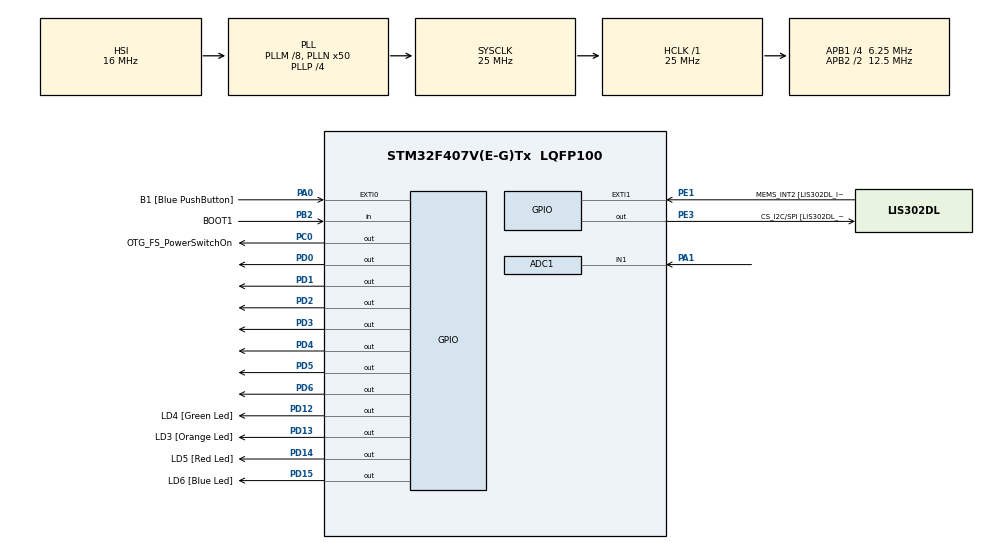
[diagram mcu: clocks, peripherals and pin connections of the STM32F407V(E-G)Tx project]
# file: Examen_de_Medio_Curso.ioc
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Mcu.Family=STM32F4
PA11.GPIO_Speed=GPIO_SPEED_FREQ_LOW
PC3.GPIO_Mode=GPIO_MODE_AF_PP
PD12.GPIO_Label=LD4 [Green Led]
PH0-OSC_IN.Signal=RCC_OSC_IN
RCC.CortexFreq_Value=25000000
PC10.GPIO_PuPd=GPIO_NOPULL
PB10.GPIO_Speed=GPIO_SPEED_FREQ_LOW
PB6.GPIO_Mode=GPIO_MODE_AF_OD
PB10.GPIO_PuPd=GPIO_NOPULL
PA10.GPIO_PuPd=GPIO_NOPULL
PD15.GPIO_Speed=GPIO_SPEED_FREQ_LOW
PC10.Signal=I2S3_CK
PC12.Signal=I2S3_SD
PA14.GPIO_Label=SWCLK
PA7.GPIO_Mode=GPIO_MODE_AF_PP
PC0.GPIO_Label=OTG_FS_PowerSwitchOn
VP_RTC_VS_RTC_Activate.Mode=RTC_Enabled
RTC.WeekDay=RTC_WEEKDAY_SUNDAY
PA6.GPIO_Label=SPI1_MISO [LIS302DL_SDO]
PB6.GPIO_Label=Audio_SCL [CS43L22_SCL]
PC10.GPIO_Speed=GPIO_SPEED_FREQ_LOW
PA11.GPIO_PuPd=GPIO_NOPULL
PC15-OSC32_OUT.GPIO_Label=PC15-OSC32_OUT
PC3.GPIO_Speed=GPIO_SPEED_FREQ_LOW
RCC.SYSCLKSource=RCC_SYSCLKSOURCE_PLLCLK
ProjectManager.StackSize=0x400
PA6.GPIO_Mode=GPIO_MODE_AF_PP
PD13.Signal=GPIO_Output
PD14.GPIO_Speed=GPIO_SPEED_FREQ_LOW
PA12.Signal=USB_OTG_FS_DP
ADC1.Channel-3\#ChannelRegularConversion=ADC_CHANNEL_1
RCC.HCLKFreq_Value=25000000
PD4.Signal=GPIO_Output
RCC.APB2TimFreq_Value=25000000
PB6.Signal=I2C1_SCL
PC7.Signal=I2S3_MCK
PC3.Signal=I2S2_SD
PD0.Signal=GPIO_Output
PE1.Signal=GPXTI1
RCC.AHBFreq_Value=25000000
PH0-OSC_IN.GPIO_Label=PH0-OSC_IN
PA9.GPIO_Mode=GPIO_MODE_INPUT
RCC.HSE_VALUE=8000000
PA4.GPIO_PuPd=GPIO_NOPULL
PB2.Signal=GPIO_Input
PA4.GPIO_Speed=GPIO_SPEED_FREQ_LOW
PA6.GPIO_PuPd=GPIO_NOPULL
RTC.Month=RTC_MONTH_MARCH
PA5.GPIO_PuPd=GPIO_NOPULL
PA10.GPIO_Label=OTG_FS_ID
PC7.GPIO_Mode=GPIO_MODE_AF_PP
PD14.GPIO_PuPd=GPIO_NOPULL
PB2.GPIO_PuPd=GPIO_NOPULL
PD13.GPIO_Label=LD3 [Orange Led]
Mcu.Package=LQFP100
PB9.Signal=I2C1_SDA
PA6.Signal=SPI1_MISO
PD12.Signal=GPIO_Output
PD15.GPIO_PuPd=GPIO_NOPULL
PA10.Signal=USB_OTG_FS_ID
PB9.GPIO_PuPd=GPIO_NOPULL
VP_RTC_VS_RTC_Calendar.Mode=RTC_Calendar
PA10.GPIO_Speed=GPIO_SPEED_FREQ_LOW
RCC.APB2CLKDivider=RCC_HCLK_DIV2
SH.ADCx_IN1.0=ADC1_IN1,IN1
PB9.GPIO_Speed=GPIO_SPEED_FREQ_LOW
RCC.APB1TimFreq_Value=12500000
PC14-OSC32_IN.GPIO_Label=PC14-OSC32_IN
PC12.GPIO_PuPd=GPIO_NOPULL
PA6.GPIO_Speed=GPIO_SPEED_FREQ_LOW
PC0.GPIO_PuPd=GPIO_NOPULL
PA12.GPIO_PuPd=GPIO_NOPULL
PD6.Signal=GPIO_Output
PA4.GPIO_Label=I2S3_WS [CS43L22_LRCK]
PD15.Signal=GPIO_Output
PC0.PinState=GPIO_PIN_SET
PA12.GPIO_Speed=GPIO_SPEED_FREQ_LOW
PB3.GPIO_Label=SWO
PD12.GPIO_Speed=GPIO_SPEED_FREQ_LOW
PD15.GPIO_Label=LD6 [Blue Led]
PB9.GPIO_Label=Audio_SDA [CS43L22_SDA]
PC10.GPIO_Label=I2S3_SCK [CS43L22_SCLK]
PA9.GPIO_Label=VBUS_FS
PB6.GPIO_PuPd=GPIO_NOPULL
PD3.Signal=GPIO_Output
PD1.Signal=GPIO_Output
PA11.GPIO_Label=OTG_FS_DM
PE1.GPIO_PuPd=GPIO_NOPULL
PD5.Signal=GPIO_Output
PC0.Signal=GPIO_Output
PE1.GPIO_ModeDefaultEXTI=GPIO_MODE_EVT_RISING
RCC.APB1CLKDivider=RCC_HCLK_DIV4
PC14-OSC32_IN.Signal=RCC_OSC32_IN
PA9.GPIO_PuPd=GPIO_NOPULL
PA12.GPIO_Label=OTG_FS_DP
PA0-WKUP.GPIO_Label=B1 [Blue PushButton]
PA0-WKUP.Signal=GPXTI0
PA10.GPIO_Mode=GPIO_MODE_AF_PP
PA13.Signal=SYS_JTMS-SWDIO
PC10.GPIO_Mode=GPIO_MODE_AF_PP
PC0.GPIO_Speed=GPIO_SPEED_FREQ_LOW
PB10.GPIO_Mode=GPIO_MODE_AF_PP
ProjectManager.TargetToolchain=STM32CubeIDE
PB10.GPIO_Label=CLK_IN [MP45DT02_CLK]
RTC.Year=21
PA9.Signal=USB_OTG_FS_VBUS
RTC.Format=RTC_FORMAT_BIN
PC7.GPIO_PuPd=GPIO_NOPULL
RCC.LSE_VALUE=32768
PC15-OSC32_OUT.Signal=RCC_OSC32_OUT
PA1.Signal=ADCx_IN1
PA7.GPIO_PuPd=GPIO_NOPULL
PB10.Signal=I2S2_CK
PA5.Signal=SPI1_SCK
board=STM32F407G-DISC1
PD13.GPIO_Speed=GPIO_SPEED_FREQ_LOW
PC7.GPIO_Speed=GPIO_SPEED_FREQ_LOW
RCC.VCOOutputFreq_Value=100000000
PE1.GPIO_Label=MEMS_INT2 [LIS302DL_INT2]
PA7.GPIO_Speed=GPIO_SPEED_FREQ_LOW
PB9.GPIO_Mode=GPIO_MODE_AF_OD
PA12.GPIO_Mode=GPIO_MODE_AF_PP
PA4.GPIO_Mode=GPIO_MODE_AF_PP
RCC.APB2Freq_Value=12500000
PB2.GPIO_Mode=GPIO_MODE_INPUT
PE3.GPIO_PuPd=GPIO_NOPULL
PH1-OSC_OUT.Signal=RCC_OSC_OUT
PD13.GPIO_PuPd=GPIO_NOPULL
PD14.GPIO_Label=LD5 [Red Led]
PH1-OSC_OUT.GPIO_Label=PH1-OSC_OUT
Mcu.Name=STM32F407V(E-G)Tx
PA13.GPIO_Label=SWDIO
PC7.GPIO_Label=I2S3_MCK [CS43L22_MCLK]
PD14.Signal=GPIO_Output
RCC.48MHZClocksFreq_Value=14285714.285714285
PB3.Signal=SYS_JTDO-SWO
NVIC.EXTI0_IRQn=true\:0\:0\:false\:false\:true\:true\:true
PA4.Signal=I2S3_WS
RCC.SYSCLKFreq_VALUE=25000000
RTC.Hours=12
PC12.GPIO_Mode=GPIO_MODE_AF_PP
PA7.GPIO_Label=SPI1_MOSI [LIS302DL_SDA/SDI/SDO]
ADC1.master=1
PA5.GPIO_Label=SPI1_SCK [LIS302DL_SCL/SPC]
ADC1.Rank-3\#ChannelRegularConversion=1
ADC1.SamplingTime-3\#ChannelRegularConversion=ADC_SAMPLETIME_3CYCLES
PE3.GPIO_Speed=GPIO_SPEED_FREQ_LOW
PC12.GPIO_Label=I2S3_SD [CS43L22_SDIN]
PA11.Signal=USB_OTG_FS_DM
PA14.Signal=SYS_JTCK-SWCLK
PB2.GPIO_Label=BOOT1
ProjectManager.HeapSize=0x200
RCC.HSI_VALUE=16000000
RCC.PLLP=RCC_PLLP_DIV4
PA5.GPIO_Speed=GPIO_SPEED_FREQ_LOW
RCC.PLLQ=7
NVIC.PriorityGroup=NVIC_PRIORITYGROUP_0
ADC1.NbrOfConversionFlag=1
RCC.PLLM=8
RCC.PLLN=50
PE3.Signal=GPIO_Output
PE3.GPIO_Label=CS_I2C/SPI [LIS302DL_CS_I2C/SPI]
PC3.GPIO_Label=PDM_OUT [MP45DT02_DOUT]
PA0-WKUP.GPIO_PuPd=GPIO_PULLUP
PA11.GPIO_Mode=GPIO_MODE_AF_PP
PD2.Signal=GPIO_Output
PB6.GPIO_Speed=GPIO_SPEED_FREQ_LOW
RCC.APB1Freq_Value=6250000
PA5.GPIO_Mode=GPIO_MODE_AF_PP
PC12.GPIO_Speed=GPIO_SPEED_FREQ_LOW
RTC.Date=21
PC3.GPIO_PuPd=GPIO_NOPULL
PD12.GPIO_PuPd=GPIO_NOPULL
PA7.Signal=SPI1_MOSI

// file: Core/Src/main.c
/* USER CODE BEGIN Header */
/**
  ******************************************************************************
  * @file           : main.c
  * @brief          : Main program body
  ******************************************************************************
  * @attention
  *
  * <h2><center>&copy; Copyright (c) 2021 STMicroelectronics.
  * All rights reserved.</center></h2>
  *
  * This software component is licensed by ST under BSD 3-Clause license,
  * the "License"; You may not use this file except in compliance with the
  * License. You may obtain a copy of the License at:
  *                        opensource.org/licenses/BSD-3-Clause
  *
  ******************************************************************************
  */
/* USER CODE END Header */
#include "main.h"

ADC_HandleTypeDef hadc1;

RTC_HandleTypeDef hrtc;

/* USER CODE BEGIN PV */
int D1=0x70 ;//Y7
int D2=0x60;
//int D3=0x50;
int D4=0x40;
int D5=0x30;
//int D6=0x20;
int D7=0x10;
int D8=0x00; //Y0
int numeros[10]={0x0,0x01,0x2,0x3,0x4,0x5,0x6,0x7,0x8,0x9}; //numeros del 0 al 9 en HEX.

int dn; //Numero a mostrar.
int ic=0; //Contador de interrupciones.
unsigned short tiempoDebounce = 500; //ms antes de siguiente interrupcion.
unsigned int tickAnterior = 0; //tiempo en el que ocurrio la ultima interrupcion.
RTC_TimeTypeDef aTime1; //estructura de tiempo.
RTC_DateTypeDef aDate1; //estructura de fecha.
/* USER CODE END PV */

void SystemClock_Config(void);
static void MX_GPIO_Init(void);
static void MX_ADC1_Init(void);
static void MX_RTC_Init(void);
/* USER CODE BEGIN PFP */
void leerhora();
void displayNumber(int numero);
void setDisplay(int dig1, int dig2,/* int dig3,*/ int dig4, int dig5,/* int dig6,*/ int dig7, int dig8);
void leerhora();
/* USER CODE END PFP */

/* USER CODE BEGIN 0 */
void leerhora(){
	if(ic!=0){
		HAL_ADC_Start(&hadc1);
		if(HAL_ADC_PollForConversion(&hadc1, 5) == HAL_OK){
			if(ic==1){
				aTime1.Hours = HAL_ADC_GetValue(&hadc1)/178;
			}
			if(ic==2){
				aTime1.Minutes = HAL_ADC_GetValue(&hadc1)/69;
			}
			if(ic==3){
				aTime1.Seconds = HAL_ADC_GetValue(&hadc1)/69;
			}
		}
		HAL_ADC_Stop(&hadc1);
		HAL_RTC_SetTime(&hrtc, &aTime1, RTC_FORMAT_BIN);
	}
	HAL_RTC_GetTime(&hrtc, &aTime1, RTC_FORMAT_BIN);
	HAL_RTC_GetDate(&hrtc, &aDate1, RTC_FORMAT_BIN);

	dn = aTime1.Hours * 1000000;
	dn += aTime1.Minutes * 1000;
	dn += aTime1.Seconds;
}

/**
  * @brief Prepara el valor de entrada
  * para utilizarlo en los displays.
  * @param[in] count numero entero de 1 a 8 digitos.
  * @retval None
  */
void displayNumber (int count){
	int dig1,dig2,/*dig3,*/dig4,dig5,/*dig6,*/dig7,dig8;
	dig1=count%10; //almacenar el 1
	dig2=(count%100)/10; //almacenar el 2
	//dig3=(count%1000)/100; //almacenar el 3
	dig4=(count%10000)/1000; //almacenar el 4
	dig5=(count%100000)/10000; //almacenar el 5
	//dig6=(count%1000000)/100000; //almacenar el 6
	dig7=(count%10000000)/1000000; //almacenar el 7
	dig8=(count%100000000)/10000000; //almacenar el 8
	setDisplay(dig1,dig2,/*dig3,*/dig4,dig5,/*dig6,*/dig7,dig8);
}

/**
  * @brief Toma los valores de entrada
  * y los imprime en los displays.
  * @param 8 numeros enteros entre 0 y 9 (6 en esta practica).
  * @see displayNumber()
  * @retval None
  */
void setDisplay(int dig1, int dig2,/* int dig3,*/ int dig4, int dig5,/* int dig6,*/ int dig7, int dig8){
	GPIOD->ODR=numeros[dig1]+D1;
	HAL_Delay(1);
	GPIOD->ODR=numeros[dig2]+D2;
	HAL_Delay(1);
	//GPIOD->ODR=numeros[dig3]+D3;
	//HAL_Delay(1);
	GPIOD->ODR=numeros[dig4]+D4;
	HAL_Delay(1);
	GPIOD->ODR=numeros[dig5]+D5;
	HAL_Delay(1);
	//GPIOD->ODR=numeros[dig6]+D6;
	//HAL_Delay(1);
	GPIOD->ODR=numeros[dig7]+D7;
	HAL_Delay(1);
	GPIOD->ODR=numeros[dig8]+D8;
	HAL_Delay(1);
}

void HAL_GPIO_EXTI_Callback(uint16_t GPIO_Pin){
	if(GPIO_Pin == GPIO_PIN_0){
		if((HAL_GetTick() - tickAnterior) > tiempoDebounce){
			ic++;
			if(ic==4){
				ic=0;
			}
			tickAnterior = HAL_GetTick();
		}
	}
}
/* USER CODE END 0 */

int main(void)
{

  /* MCU Configuration--------------------------------------------------------*/

  /* Reset of all peripherals, Initializes the Flash interface and the Systick. */
  HAL_Init();

  /* Configure the system clock */
  SystemClock_Config();

  /* Initialize all configured peripherals */
  MX_GPIO_Init();
  MX_ADC1_Init();
  MX_RTC_Init();

  /* Infinite loop */
  while (1)
  {

    /* USER CODE BEGIN 3 */
	  leerhora();
	  displayNumber(dn);
  }
  /* USER CODE END 3 */
}

void SystemClock_Config(void)
{
  RCC_OscInitTypeDef RCC_OscInitStruct = {0};
  RCC_ClkInitTypeDef RCC_ClkInitStruct = {0};
  RCC_PeriphCLKInitTypeDef PeriphClkInitStruct = {0};

  /** Configure the main internal regulator output voltage
  */
  __HAL_RCC_PWR_CLK_ENABLE();
  __HAL_PWR_VOLTAGESCALING_CONFIG(PWR_REGULATOR_VOLTAGE_SCALE1);
  /** Initializes the RCC Oscillators according to the specified parameters
  * in the RCC_OscInitTypeDef structure.
  */
  RCC_OscInitStruct.OscillatorType = RCC_OSCILLATORTYPE_HSI|RCC_OSCILLATORTYPE_LSI;
  RCC_OscInitStruct.HSIState = RCC_HSI_ON;
  RCC_OscInitStruct.HSICalibrationValue = RCC_HSICALIBRATION_DEFAULT;
  RCC_OscInitStruct.LSIState = RCC_LSI_ON;
  RCC_OscInitStruct.PLL.PLLState = RCC_PLL_ON;
  RCC_OscInitStruct.PLL.PLLSource = RCC_PLLSOURCE_HSI;
  RCC_OscInitStruct.PLL.PLLM = 8;
  RCC_OscInitStruct.PLL.PLLN = 50;
  RCC_OscInitStruct.PLL.PLLP = RCC_PLLP_DIV4;
  RCC_OscInitStruct.PLL.PLLQ = 7;
  if (HAL_RCC_OscConfig(&RCC_OscInitStruct) != HAL_OK)
  {
    Error_Handler();
  }
  /** Initializes the CPU, AHB and APB buses clocks
  */
  RCC_ClkInitStruct.ClockType = RCC_CLOCKTYPE_HCLK|RCC_CLOCKTYPE_SYSCLK
                              |RCC_CLOCKTYPE_PCLK1|RCC_CLOCKTYPE_PCLK2;
  RCC_ClkInitStruct.SYSCLKSource = RCC_SYSCLKSOURCE_PLLCLK;
  RCC_ClkInitStruct.AHBCLKDivider = RCC_SYSCLK_DIV1;
  RCC_ClkInitStruct.APB1CLKDivider = RCC_HCLK_DIV4;
  RCC_ClkInitStruct.APB2CLKDivider = RCC_HCLK_DIV2;

  if (HAL_RCC_ClockConfig(&RCC_ClkInitStruct, FLASH_LATENCY_0) != HAL_OK)
  {
    Error_Handler();
  }
  PeriphClkInitStruct.PeriphClockSelection = RCC_PERIPHCLK_RTC;
  PeriphClkInitStruct.RTCClockSelection = RCC_RTCCLKSOURCE_LSI;
  if (HAL_RCCEx_PeriphCLKConfig(&PeriphClkInitStruct) != HAL_OK)
  {
    Error_Handler();
  }
}

static void MX_ADC1_Init(void)
{

  ADC_ChannelConfTypeDef sConfig = {0};

  /** Configure the global features of the ADC (Clock, Resolution, Data Alignment and number of conversion)
  */
  hadc1.Instance = ADC1;
  hadc1.Init.ClockPrescaler = ADC_CLOCK_SYNC_PCLK_DIV2;
  hadc1.Init.Resolution = ADC_RESOLUTION_12B;
  hadc1.Init.ScanConvMode = DISABLE;
  hadc1.Init.ContinuousConvMode = DISABLE;
  hadc1.Init.DiscontinuousConvMode = DISABLE;
  hadc1.Init.ExternalTrigConvEdge = ADC_EXTERNALTRIGCONVEDGE_NONE;
  hadc1.Init.ExternalTrigConv = ADC_SOFTWARE_START;
  hadc1.Init.DataAlign = ADC_DATAALIGN_RIGHT;
  hadc1.Init.NbrOfConversion = 1;
  hadc1.Init.DMAContinuousRequests = DISABLE;
  hadc1.Init.EOCSelection = ADC_EOC_SINGLE_CONV;
  if (HAL_ADC_Init(&hadc1) != HAL_OK)
  {
    Error_Handler();
  }
  /** Configure for the selected ADC regular channel its corresponding rank in the sequencer and its sample time.
  */
  sConfig.Channel = ADC_CHANNEL_1;
  sConfig.Rank = 1;
  sConfig.SamplingTime = ADC_SAMPLETIME_3CYCLES;
  if (HAL_ADC_ConfigChannel(&hadc1, &sConfig) != HAL_OK)
  {
    Error_Handler();
  }

}

static void MX_RTC_Init(void)
{

  RTC_TimeTypeDef sTime = {0};
  RTC_DateTypeDef sDate = {0};

  /** Initialize RTC Only
  */
  hrtc.Instance = RTC;
  hrtc.Init.HourFormat = RTC_HOURFORMAT_24;
  hrtc.Init.AsynchPrediv = 127;
  hrtc.Init.SynchPrediv = 255;
  hrtc.Init.OutPut = RTC_OUTPUT_DISABLE;
  hrtc.Init.OutPutPolarity = RTC_OUTPUT_POLARITY_HIGH;
  hrtc.Init.OutPutType = RTC_OUTPUT_TYPE_OPENDRAIN;
  if (HAL_RTC_Init(&hrtc) != HAL_OK)
  {
    Error_Handler();
  }

  /** Initialize RTC and set the Time and Date
  */
  sTime.Hours = 12;
  sTime.Minutes = 0;
  sTime.Seconds = 0;
  sTime.DayLightSaving = RTC_DAYLIGHTSAVING_NONE;
  sTime.StoreOperation = RTC_STOREOPERATION_RESET;
  if (HAL_RTC_SetTime(&hrtc, &sTime, RTC_FORMAT_BIN) != HAL_OK)
  {
    Error_Handler();
  }
  sDate.WeekDay = RTC_WEEKDAY_SUNDAY;
  sDate.Month = RTC_MONTH_MARCH;
  sDate.Date = 21;
  sDate.Year = 21;

  if (HAL_RTC_SetDate(&hrtc, &sDate, RTC_FORMAT_BIN) != HAL_OK)
  {
    Error_Handler();
  }

}

static void MX_GPIO_Init(void)
{
  GPIO_InitTypeDef GPIO_InitStruct = {0};

  /* GPIO Ports Clock Enable */
  __HAL_RCC_GPIOE_CLK_ENABLE();
  __HAL_RCC_GPIOC_CLK_ENABLE();
  __HAL_RCC_GPIOH_CLK_ENABLE();
  __HAL_RCC_GPIOA_CLK_ENABLE();
  __HAL_RCC_GPIOB_CLK_ENABLE();
  __HAL_RCC_GPIOD_CLK_ENABLE();

  /*Configure GPIO pin Output Level */
  HAL_GPIO_WritePin(CS_I2C_SPI_GPIO_Port, CS_I2C_SPI_Pin, GPIO_PIN_RESET);

  /*Configure GPIO pin Output Level */
  HAL_GPIO_WritePin(OTG_FS_PowerSwitchOn_GPIO_Port, OTG_FS_PowerSwitchOn_Pin, GPIO_PIN_SET);

  /*Configure GPIO pin Output Level */
  HAL_GPIO_WritePin(GPIOD, LD4_Pin|LD3_Pin|LD5_Pin|LD6_Pin
                          |GPIO_PIN_0|GPIO_PIN_1|GPIO_PIN_2|GPIO_PIN_3
                          |GPIO_PIN_4|GPIO_PIN_5|GPIO_PIN_6, GPIO_PIN_RESET);

  /*Configure GPIO pin : CS_I2C_SPI_Pin */
  GPIO_InitStruct.Pin = CS_I2C_SPI_Pin;
  GPIO_InitStruct.Mode = GPIO_MODE_OUTPUT_PP;
  GPIO_InitStruct.Pull = GPIO_NOPULL;
  GPIO_InitStruct.Speed = GPIO_SPEED_FREQ_LOW;
  HAL_GPIO_Init(CS_I2C_SPI_GPIO_Port, &GPIO_InitStruct);

  /*Configure GPIO pin : OTG_FS_PowerSwitchOn_Pin */
  GPIO_InitStruct.Pin = OTG_FS_PowerSwitchOn_Pin;
  GPIO_InitStruct.Mode = GPIO_MODE_OUTPUT_PP;
  GPIO_InitStruct.Pull = GPIO_NOPULL;
  GPIO_InitStruct.Speed = GPIO_SPEED_FREQ_LOW;
  HAL_GPIO_Init(OTG_FS_PowerSwitchOn_GPIO_Port, &GPIO_InitStruct);

  /*Configure GPIO pin : PDM_OUT_Pin */
  GPIO_InitStruct.Pin = PDM_OUT_Pin;
  GPIO_InitStruct.Mode = GPIO_MODE_AF_PP;
  GPIO_InitStruct.Pull = GPIO_NOPULL;
  GPIO_InitStruct.Speed = GPIO_SPEED_FREQ_LOW;
  GPIO_InitStruct.Alternate = GPIO_AF5_SPI2;
  HAL_GPIO_Init(PDM_OUT_GPIO_Port, &GPIO_InitStruct);

  /*Configure GPIO pin : B1_Pin */
  GPIO_InitStruct.Pin = B1_Pin;
  GPIO_InitStruct.Mode = GPIO_MODE_IT_RISING;
  GPIO_InitStruct.Pull = GPIO_PULLUP;
  HAL_GPIO_Init(B1_GPIO_Port, &GPIO_InitStruct);

  /*Configure GPIO pin : I2S3_WS_Pin */
  GPIO_InitStruct.Pin = I2S3_WS_Pin;
  GPIO_InitStruct.Mode = GPIO_MODE_AF_PP;
  GPIO_InitStruct.Pull = GPIO_NOPULL;
  GPIO_InitStruct.Speed = GPIO_SPEED_FREQ_LOW;
  GPIO_InitStruct.Alternate = GPIO_AF6_SPI3;
  HAL_GPIO_Init(I2S3_WS_GPIO_Port, &GPIO_InitStruct);

  /*Configure GPIO pins : SPI1_SCK_Pin SPI1_MISO_Pin SPI1_MOSI_Pin */
  GPIO_InitStruct.Pin = SPI1_SCK_Pin|SPI1_MISO_Pin|SPI1_MOSI_Pin;
  GPIO_InitStruct.Mode = GPIO_MODE_AF_PP;
  GPIO_InitStruct.Pull = GPIO_NOPULL;
  GPIO_InitStruct.Speed = GPIO_SPEED_FREQ_LOW;
  GPIO_InitStruct.Alternate = GPIO_AF5_SPI1;
  HAL_GPIO_Init(GPIOA, &GPIO_InitStruct);

  /*Configure GPIO pin : BOOT1_Pin */
  GPIO_InitStruct.Pin = BOOT1_Pin;
  GPIO_InitStruct.Mode = GPIO_MODE_INPUT;
  GPIO_InitStruct.Pull = GPIO_NOPULL;
  HAL_GPIO_Init(BOOT1_GPIO_Port, &GPIO_InitStruct);

  /*Configure GPIO pin : CLK_IN_Pin */
  GPIO_InitStruct.Pin = CLK_IN_Pin;
  GPIO_InitStruct.Mode = GPIO_MODE_AF_PP;
  GPIO_InitStruct.Pull = GPIO_NOPULL;
  GPIO_InitStruct.Speed = GPIO_SPEED_FREQ_LOW;
  GPIO_InitStruct.Alternate = GPIO_AF5_SPI2;
  HAL_GPIO_Init(CLK_IN_GPIO_Port, &GPIO_InitStruct);

  /*Configure GPIO pins : LD4_Pin LD3_Pin LD5_Pin LD6_Pin
                           PD0 PD1 PD2 PD3
                           PD4 PD5 PD6 */
  GPIO_InitStruct.Pin = LD4_Pin|LD3_Pin|LD5_Pin|LD6_Pin
                          |GPIO_PIN_0|GPIO_PIN_1|GPIO_PIN_2|GPIO_PIN_3
                          |GPIO_PIN_4|GPIO_PIN_5|GPIO_PIN_6;
  GPIO_InitStruct.Mode = GPIO_MODE_OUTPUT_PP;
  GPIO_InitStruct.Pull = GPIO_NOPULL;
  GPIO_InitStruct.Speed = GPIO_SPEED_FREQ_LOW;
  HAL_GPIO_Init(GPIOD, &GPIO_InitStruct);

  /*Configure GPIO pins : I2S3_MCK_Pin I2S3_SCK_Pin I2S3_SD_Pin */
  GPIO_InitStruct.Pin = I2S3_MCK_Pin|I2S3_SCK_Pin|I2S3_SD_Pin;
  GPIO_InitStruct.Mode = GPIO_MODE_AF_PP;
  GPIO_InitStruct.Pull = GPIO_NOPULL;
  GPIO_InitStruct.Speed = GPIO_SPEED_FREQ_LOW;
  GPIO_InitStruct.Alternate = GPIO_AF6_SPI3;
  HAL_GPIO_Init(GPIOC, &GPIO_InitStruct);

  /*Configure GPIO pin : VBUS_FS_Pin */
  GPIO_InitStruct.Pin = VBUS_FS_Pin;
  GPIO_InitStruct.Mode = GPIO_MODE_INPUT;
  GPIO_InitStruct.Pull = GPIO_NOPULL;
  HAL_GPIO_Init(VBUS_FS_GPIO_Port, &GPIO_InitStruct);

  /*Configure GPIO pins : OTG_FS_ID_Pin OTG_FS_DM_Pin OTG_FS_DP_Pin */
  GPIO_InitStruct.Pin = OTG_FS_ID_Pin|OTG_FS_DM_Pin|OTG_FS_DP_Pin;
  GPIO_InitStruct.Mode = GPIO_MODE_AF_PP;
  GPIO_InitStruct.Pull = GPIO_NOPULL;
  GPIO_InitStruct.Speed = GPIO_SPEED_FREQ_LOW;
  GPIO_InitStruct.Alternate = GPIO_AF10_OTG_FS;
  HAL_GPIO_Init(GPIOA, &GPIO_InitStruct);

  /*Configure GPIO pins : Audio_SCL_Pin Audio_SDA_Pin */
  GPIO_InitStruct.Pin = Audio_SCL_Pin|Audio_SDA_Pin;
  GPIO_InitStruct.Mode = GPIO_MODE_AF_OD;
  GPIO_InitStruct.Pull = GPIO_PULLUP;
  GPIO_InitStruct.Speed = GPIO_SPEED_FREQ_LOW;
  GPIO_InitStruct.Alternate = GPIO_AF4_I2C1;
  HAL_GPIO_Init(GPIOB, &GPIO_InitStruct);

  /*Configure GPIO pin : MEMS_INT2_Pin */
  GPIO_InitStruct.Pin = MEMS_INT2_Pin;
  GPIO_InitStruct.Mode = GPIO_MODE_EVT_RISING;
  GPIO_InitStruct.Pull = GPIO_NOPULL;
  HAL_GPIO_Init(MEMS_INT2_GPIO_Port, &GPIO_InitStruct);

  /* EXTI interrupt init*/
  HAL_NVIC_SetPriority(EXTI0_IRQn, 0, 0);
  HAL_NVIC_EnableIRQ(EXTI0_IRQn);

}

void Error_Handler(void)
{
  __disable_irq();
  while (1)
  {
  }
}

/************************ (C) COPYRIGHT STMicroelectronics *****END OF FILE****/
